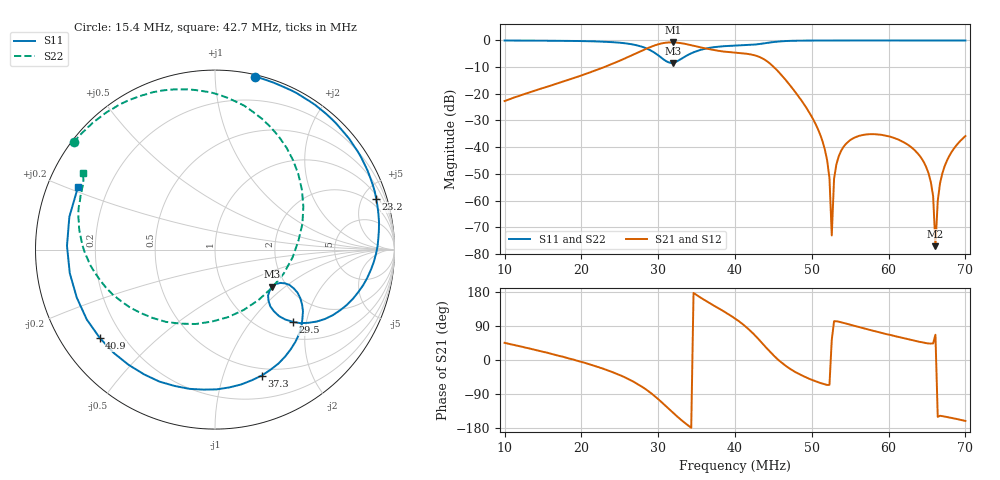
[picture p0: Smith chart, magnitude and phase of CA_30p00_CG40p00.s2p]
#  HZ  S  RI  R  50.00
! Rohde & Schwarz ZVT8 8Ports - Version 4.11 - 1300.0000k08 SN: 100242
! Date: 2026-07-31 14:40:35
! Measurements: S11 S21 S12 S22
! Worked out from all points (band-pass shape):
!   201 points, 10 MHz to 70 MHz, reference 50 ohm
!   highest |S21| = -0.73 dB at 31.9 MHz (marker M1); lowest = -77.1 dB at 66.1 MHz (marker M2)
!   |S21| within 3 dB of the highest: 27.97 MHz to 37.47 MHz (9.497 MHz wide, 29 % of centre)
!   lowest |S11| = -8.4 dB at 31.9 MHz (marker M3), VSWR 2.22, Z = 84.4 - j40.7 ohm
!   |S11| at or under -10 dB: nowhere
!   |S22| runs from -8.6 to 0.0 dB; largest |S21 - S12| = 0.0036
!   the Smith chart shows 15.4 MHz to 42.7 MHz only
!   S11 on the Smith chart (normalised r, x): 15.4 MHz: 0.02, +1.26; 23.2 MHz: 1.26, +6.26; 29.5 MHz: 1.35, -1.66; 37.3 MHz: 0.42, -1.35; 40.9 MHz: 0.12, -0.33; 42.7 MHz: 0.09, +0.22
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1e7  -0.4073 0.9093  0.0515 0.0521  0.0512 0.0522  -0.918 0.3872
1.54e7  0.2212 0.9623  0.1258 0.0458  0.1257 0.0452  -0.788 0.5971
2.02e7  0.7233 0.6468  0.2247 -0.0242  0.2239 -0.024  -0.5757 0.7811
2.32e7  0.8982 0.2826  0.2941 -0.1411  0.2936 -0.1413  -0.3484 0.8764
2.95e7  0.4328 -0.4021  -0.0647 -0.7998  -0.0642 -0.7974  0.4845 0.3321
3.01e7  0.3564 -0.3703  -0.2211 -0.8248  -0.2204 -0.8243  0.4872 0.1445
3.19e7  0.3186 -0.2065  -0.6908 -0.6074  -0.6892 -0.6071  0.1611 -0.3356
3.73e7  0.2609 -0.7016  -0.5232 0.3965  -0.5244 0.3957  -0.7458 0.0576
4e7  -0.3949 -0.6953  -0.1965 0.5545  -0.196 0.5544  -0.75 0.2924
4.09e7  -0.6428 -0.4912  -0.0618 0.5699  -0.0622 0.5689  -0.7399 0.3439
4.27e7  -0.7637 0.3475  0.237 0.4629  0.2364 0.4616  -0.7378 0.4253
4.63e7  0.9031 0.3495  0.2006 -0.0376  0.2003 -0.0375  -0.7083 0.6712
5.02e7  0.6202 -0.7778  0.0193 -0.0264  0.0193 -0.0263  -0.53 0.8441
5.2e7  0.294 -0.9526  0.0023 -0.00514  0.00234 -0.00516  -0.4482 0.889
5.26e7  0.1866 -0.9778  0.000133 0.000178  0.000131 0.000164  -0.4225 0.9033
5.29e7  0.1345 -0.9878  -0.000558 0.00252  -0.000553 0.00249  -0.4101 0.9083
5.38e7  -0.0166 -0.9954  -0.00141 0.00832  -0.00141 0.00826  -0.3702 0.9248
6.01e7  -0.797 -0.597  0.00625 0.0146  0.00623 0.0145  -0.1058 0.9912
6.49e7  -0.9966 -0.0356  0.00301 0.00295  0.003 0.00297  0.091 0.9932
6.61e7  -0.9893 0.1112  5.51e-05 0.000129  2.42e-05 0.000147  0.1413 0.9865
6.7e7  -0.972 0.218  -0.00275 -0.00171  -0.00275 -0.0017  0.1762 0.9807
7e7  -0.8329 0.5473  -0.0153 -0.00532  -0.0153 -0.0053  0.2962 0.9525
